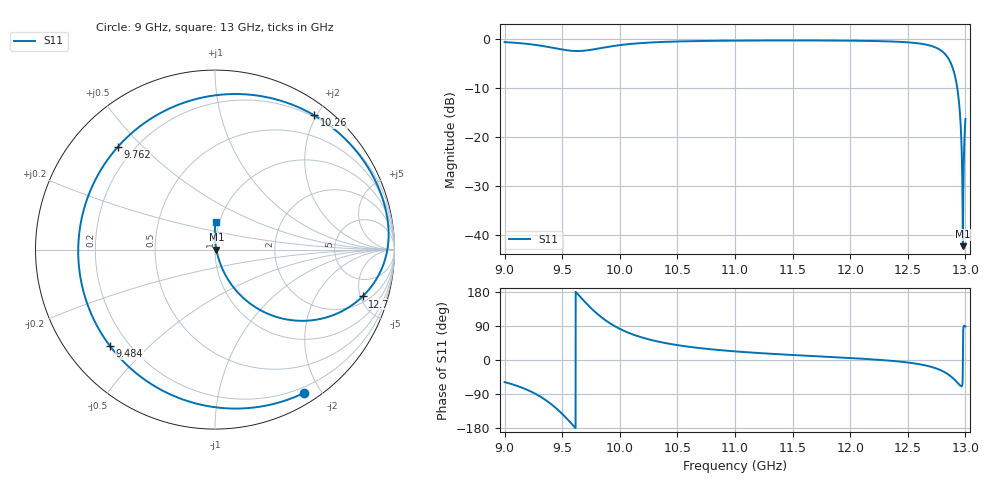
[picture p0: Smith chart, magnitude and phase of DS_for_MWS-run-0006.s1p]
! TOUCHSTONE file generated by CST DESIGN STUDIO
! Date and time: Tue Feb  4 17:26:10 2025
! Project name: C:\Work\MatlabApps\UnitCellOptimizationMatlab\CST\unitcell.cst
! Tree item: Tasks\Sweep1\SPara1\S-Parameters
! Header version: 2024
! Port assignment regex: !\s*Touchstone port\s*([0-9]+)\s*=\s*(CST MWS port|CST DES external port|CST DES block port)\s*(.+)\s* \(\"(.*)\"\)(\s*mode\s*([0-9]+))?.*
! Touchstone port assignment:
! Touchstone port 1 = CST DES external port 1 ("")
# GHz S MA R 50
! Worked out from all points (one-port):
!   4001 points, 9 GHz to 13 GHz, reference 50 ohm
!   lowest |S11| = -42.3 dB at 12.98 GHz (marker M1), VSWR 1.02, Z = 50.8 - j0.0315 ohm
!   |S11| at or under -10 dB: 12.93 GHz to end of sweep
!   S11 on the Smith chart (normalised r, x): 9 GHz: 0.13, -1.78; 9.484 GHz: 0.13, -0.38; 9.762 GHz: 0.14, +0.42; 10.26 GHz: 0.18, +1.97; 12.7 GHz: 2.57, -5.24; 13 GHz: 0.96, +0.30
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9  0.9398 -58.3
9.15  0.9124 -72.9
9.296  0.87 -94.1
9.394  0.8315 -114.1
9.484  0.7942 -137.6
9.5  0.7882 -142.3
9.567  0.7685 -163.4
9.628  0.7618 176.2
9.69  0.7677 155.6
9.762  0.7878 133.5
9.871  0.8296 105.9
10  0.8749 82.2
10.125  0.9068 66.2
10.263  0.9304 53.6
10.5  0.9536 39.2
11  0.9725 22.8
11.5  0.9767 13.2
12  0.9714 5.2
12.5  0.9346 -6.6
12.698  0.8629 -17.6
12.808  0.7395 -30.2
12.899  0.4728 -49.9
12.94  0.256 -62.8
12.952  0.18 -66.6
12.965  0.0928 -69.4
12.978  0.007708 -2.3
12.991  0.09067 90.5
13  0.1538 88.8
